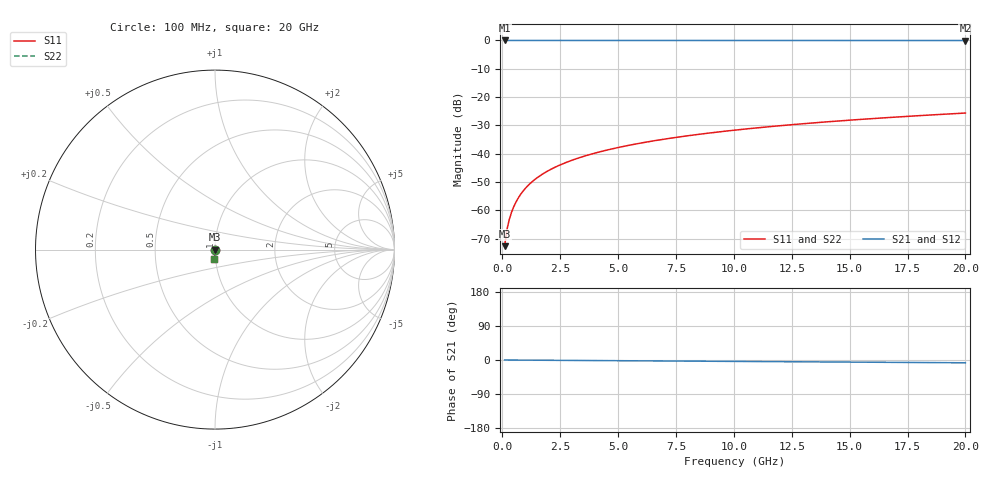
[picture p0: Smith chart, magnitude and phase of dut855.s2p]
! Touchstone file exported from HFSS 2026.1.0
!  File:  C:/ffzhzh/LocalFiles/Ansys_Project_Files/temp_train_TSV_855_1783185243_22436.aedt
!  Generated:  01:15:36 AM Jul  5, 2026
!  Design:  TSV
!  Project:  temp_train_TSV_855_1783185243_22436
! Variables:
!  h_bsmrdl = 2um
!  h_ox = 20um
!  h_rdl = 5um
!  h_sub = 68.79um
!  h_tmrdl = 5um
!  h_tsv = 68.79um
!  h_via = 3um
!  l_bsmrdl = 300um
!  l_sub = 428.76um
!  l_tmrdl = 200um
!  m_sub = 200um
!  pitch = 40.37um
!  r_tsv = 14.38um
!  s_tmrdl = 10um
!  w_bsmrdl = 18um
!  w_sub = 500um
!  w_tmrdl = 12um
!  x_tsv_center1 = 206um
!  x_tsv_center2 = 524um
!  x_tsv_center3 = 736um
!  x_tsv_center4 = 1054um
!  x_tsv_center5 = 1266um
!  x_tsv_center6 = 1584um
# GHz S MA R 50.000000
! Terminal data exported
! Port[1] = TSV1_1_T1
! Port[2] = TSV1_1_T2
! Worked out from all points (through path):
!   200 points, 100 MHz to 20 GHz, reference 50 ohm
!   highest |S21| = 0.00 dB at 100 MHz (marker M1); lowest = 0.0 dB at 20 GHz (marker M2)
!   group delay of S21, straight-line fit = 1.02 ps
!   lowest |S11| = -72.7 dB at 100 MHz (marker M3), VSWR 1.00, Z = 50 - j0.0221 ohm
!   |S11| at or under -10 dB: start of sweep to end of sweep
!   |S22| runs from -72.7 to -25.6 dB; largest |S21 - S12| = 9.7e-15
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0.1  0.0002327 -71.6  0.9999 -0.0  0.9999 -0.0  0.0002327 -71.6
! Gamma 0 0 0 0
! Port Impedance 50 0 50 0
0.2  0.000454 -78.9  0.9999 -0.1  0.9999 -0.1  0.000454 -78.9
0.3  0.0006853 -81.1  0.9999 -0.1  0.9999 -0.1  0.0006853 -81.1
0.4  0.0009246 -82.0  0.9999 -0.2  0.9999 -0.2  0.0009246 -82.0
0.5  0.001171 -82.6  0.9998 -0.2  0.9998 -0.2  0.001171 -82.6
0.7  0.001676 -83.5  0.9998 -0.3  0.9998 -0.3  0.001676 -83.5
0.8  0.001933 -84.0  0.9998 -0.3  0.9998 -0.3  0.001933 -84.0
1  0.00245 -84.7  0.9998 -0.4  0.9998 -0.4  0.00245 -84.7
1.2  0.002969 -85.3  0.9997 -0.5  0.9997 -0.5  0.002969 -85.3
1.4  0.003488 -85.9  0.9997 -0.5  0.9997 -0.5  0.003488 -85.9
1.7  0.004267 -86.5  0.9997 -0.6  0.9997 -0.6  0.004267 -86.5
2  0.005045 -87.0  0.9997 -0.7  0.9997 -0.7  0.005045 -87.0
2.7  0.00686 -87.9  0.9996 -1.0  0.9996 -1.0  0.00686 -87.9
3.5  0.008938 -88.6  0.9995 -1.3  0.9995 -1.3  0.008938 -88.6
4.2  0.01076 -89.1  0.9995 -1.6  0.9995 -1.6  0.01076 -89.1
5  0.01285 -89.6  0.9994 -1.9  0.9994 -1.9  0.01285 -89.6
6.8  0.01756 -90.6  0.9993 -2.5  0.9993 -2.5  0.01756 -90.6
8.3  0.0215 -91.3  0.9991 -3.1  0.9991 -3.1  0.0215 -91.3
10.1  0.02623 -92.2  0.9989 -3.7  0.9989 -3.7  0.02623 -92.2
13.4  0.0349 -93.6  0.9986 -4.9  0.9986 -4.9  0.0349 -93.6
16.7  0.04357 -94.9  0.9981 -6.1  0.9981 -6.1  0.04357 -94.9
20  0.05223 -96.2  0.9976 -7.4  0.9976 -7.4  0.05223 -96.2
